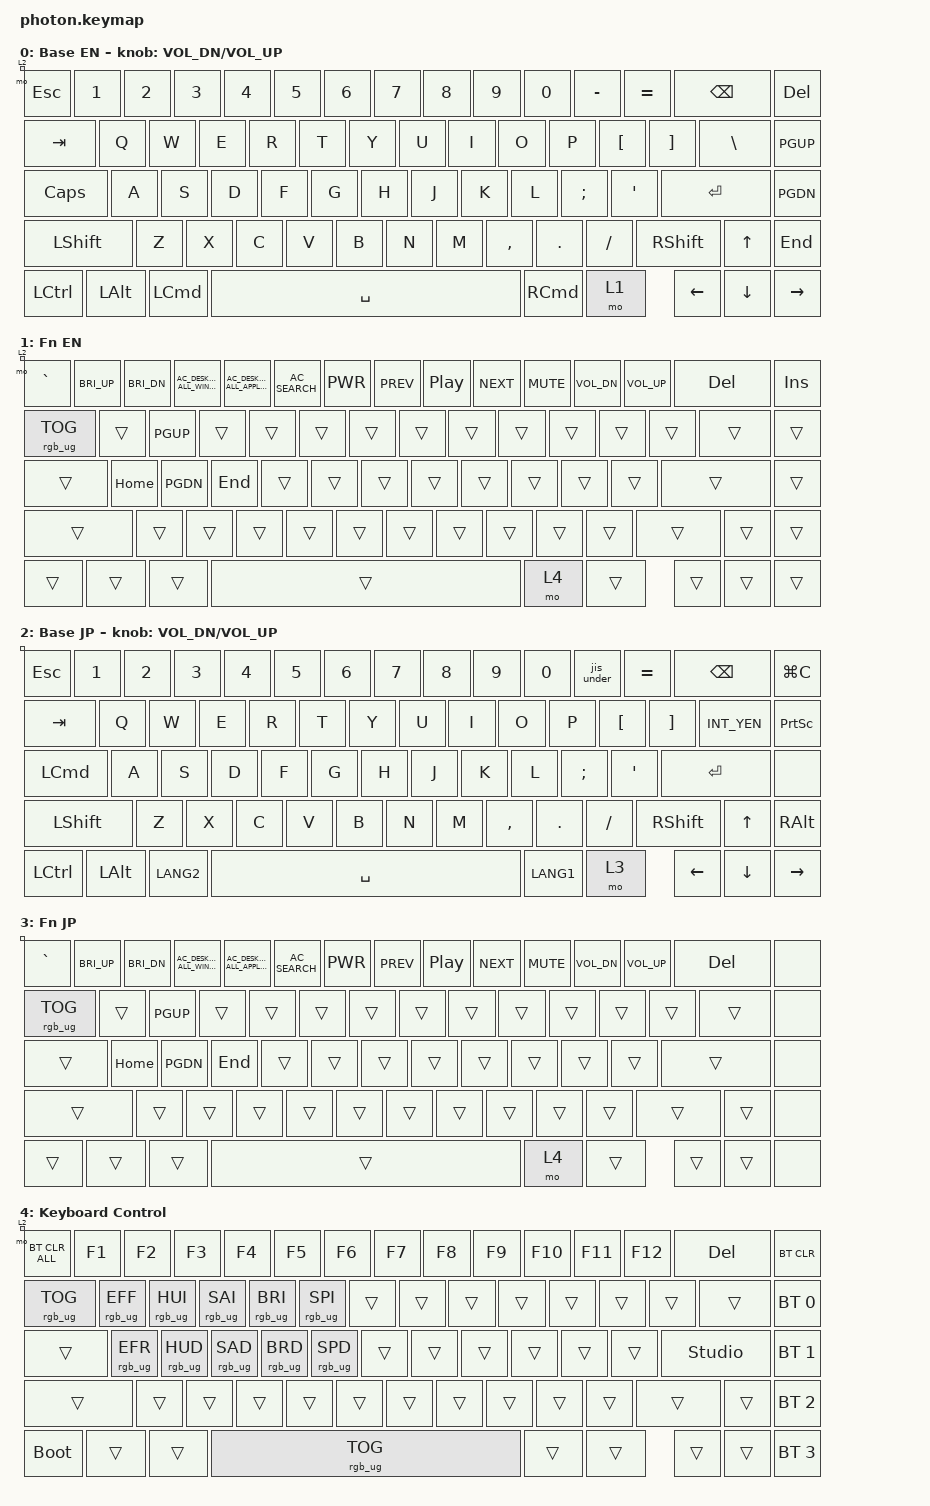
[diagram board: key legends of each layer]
/*
 * Copyright (c) 2024 CannonKeys LLC
 *
 * SPDX-License-Identifier: MIT
 */

#include <behaviors.dtsi>
#include <dt-bindings/zmk/keys.h>
#include <dt-bindings/zmk/rgb.h>
#include <dt-bindings/zmk/bt.h>

/ {
    behaviors {
        // ANSI-to-JIS Illusion for the Underscore key
        // A standard tap sends Minus (which is '-' in JIS mode).
        // A shifted tap sends INT_RO (which is '_' in JIS mode).
        jis_under: japanese_underscore {
            compatible = "zmk,behavior-mod-morph";
            #binding-cells = <0>;
            bindings = <&kp MINUS>, <&kp INT_RO>;
            mods = <(MOD_LSFT|MOD_RSFT)>;
        };
    };

    keymap {
        compatible = "zmk,keymap";

        english_base_layer {
            display-name = "Base EN";
            bindings = <
    &kp ESC   &kp N1    &kp N2    &kp N3    &kp N4    &kp N5    &kp N6    &kp N7    &kp N8    &kp N9    &kp N0    &kp MINUS &kp EQUAL  &kp BSPC  &kp DEL
    &kp TAB   &kp Q     &kp W     &kp E     &kp R     &kp T     &kp Y     &kp U     &kp I     &kp O     &kp P     &kp LBKT  &kp RBKT   &kp BSLH  &kp PGUP
    &kp CLCK  &kp A     &kp S     &kp D     &kp F     &kp G     &kp H     &kp J     &kp K     &kp L     &kp SEMI  &kp SQT              &kp RET   &kp PGDN
    &kp LSHFT           &kp Z     &kp X     &kp C     &kp V     &kp B     &kp N     &kp M     &kp COMMA &kp DOT   &kp FSLH  &kp RSHFT  &kp UP    &kp END
    &kp LCTRL &kp LALT  &kp LCMD                                &kp SPACE                               &kp RCMD  &mo 1     &kp LEFT   &kp DOWN  &kp RIGHT
    &none &mo 2
                >;
            sensor-bindings = <&inc_dec_kp C_VOL_DN C_VOL_UP>;
        };

        english_function_layer {
            display-name = "Fn EN";
            bindings = <
    &kp GRAVE   &kp C_BRI_UP   &kp C_BRI_DN   &kp C_AC_DESKTOP_SHOW_ALL_WINDOWS   &kp C_AC_DESKTOP_SHOW_ALL_APPLICATIONS    &kp C_AC_SEARCH    &kp C_PWR    &kp C_PREV    &kp C_PP    &kp C_NEXT    &kp C_MUTE    &kp C_VOL_DN    &kp C_VOL_UP    &kp DEL    &kp INS 
    &rgb_ug RGB_TOG   &trans   &kp PGUP   &trans &trans   &trans    &trans    &trans    &trans    &trans    &trans    &trans    &trans    &trans    &trans   
    &trans   &kp HOME   &kp PGDN   &kp END   &trans &trans    &trans    &trans    &trans    &trans    &trans    &trans              &trans    &trans  
    &trans            &trans   &trans   &trans   &trans    &trans    &trans    &trans    &trans    &trans    &trans    &trans    &trans    &trans  
    &trans   &trans   &trans                               &trans                                  &mo 4     &trans    &trans    &trans    &trans
    &none &mo 2
            >;
        };

        japanese_base_layer {
            display-name = "Base JP";
            bindings = <
    &kp ESC   &kp N1    &kp N2    &kp N3    &kp N4    &kp N5    &kp N6    &kp N7    &kp N8    &kp N9    &kp N0    &jis_under &kp EQUAL  &kp BSPC  &kp LG(C)
    &kp TAB   &kp Q     &kp W     &kp E     &kp R     &kp T     &kp Y     &kp U     &kp I     &kp O     &kp P     &kp LBKT  &kp RBKT   &kp INT_YEN &kp PSCRN
    &kp LCMD  &kp A     &kp S     &kp D     &kp F     &kp G     &kp H     &kp J     &kp K     &kp L     &kp SEMI  &kp SQT              &kp RET   &none
    &kp LSHFT           &kp Z     &kp X     &kp C     &kp V     &kp B     &kp N     &kp M     &kp COMMA &kp DOT   &kp FSLH  &kp RSHFT  &kp UP    &kp RALT
    &kp LCTRL &kp LALT  &kp LANG2                               &kp SPACE                               &kp LANG1 &mo 3     &kp LEFT   &kp DOWN  &kp RIGHT
    &none &none
                >;
            sensor-bindings = <&inc_dec_kp C_VOL_DN C_VOL_UP>;

        };

        japanese_function_layer {
            display-name = "Fn JP";
            bindings = <
    &kp GRAVE   &kp C_BRI_UP   &kp C_BRI_DN   &kp C_AC_DESKTOP_SHOW_ALL_WINDOWS   &kp C_AC_DESKTOP_SHOW_ALL_APPLICATIONS    &kp C_AC_SEARCH    &kp C_PWR    &kp C_PREV    &kp C_PP    &kp C_NEXT    &kp C_MUTE    &kp C_VOL_DN    &kp C_VOL_UP    &kp DEL    &none 
    &rgb_ug RGB_TOG   &trans   &kp PGUP   &trans &trans   &trans    &trans    &trans    &trans    &trans    &trans    &trans    &trans    &trans    &none   
    &trans   &kp HOME   &kp PGDN   &kp END   &trans &trans    &trans    &trans    &trans    &trans    &trans    &trans              &trans    &none  
    &trans            &trans   &trans   &trans   &trans    &trans    &trans    &trans    &trans    &trans    &trans    &trans    &trans    &none  
    &trans   &trans   &trans                               &trans                                  &mo 4     &trans    &trans    &trans    &none
    &none &none
            >;
        };


        control_layer {
            display-name = "Keyboard Control";
            bindings = <
    &bt BT_CLR_ALL &kp F1    &kp F2    &kp F3    &kp F4    &kp F5    &kp F6    &kp F7    &kp F8    &kp F9    &kp F10   &kp F11   &kp F12   &kp DEL   &bt BT_CLR  
    &rgb_ug RGB_TOG &rgb_ug RGB_EFF &rgb_ug RGB_HUI &rgb_ug RGB_SAI  &rgb_ug RGB_BRI &rgb_ug RGB_SPI &trans    &trans    &trans    &trans    &trans    &trans    &trans    &trans    &bt BT_SEL 0   
    &trans          &rgb_ug RGB_EFR &rgb_ug RGB_HUD &rgb_ug RGB_SAD  &rgb_ug RGB_BRD &rgb_ug RGB_SPD &trans    &trans    &trans    &trans    &trans    &trans    &studio_unlock      &bt BT_SEL 1   
    &trans                          &trans          &trans           &trans          &trans          &trans    &trans    &trans    &trans    &trans    &trans    &trans    &trans          &bt BT_SEL 2 
    &bootloader     &trans          &trans                                                           &rgb_ug RGB_TOG                         &trans    &trans    &trans    &trans          &bt BT_SEL 3
    &none &mo 2
            >;
        };

    };
};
